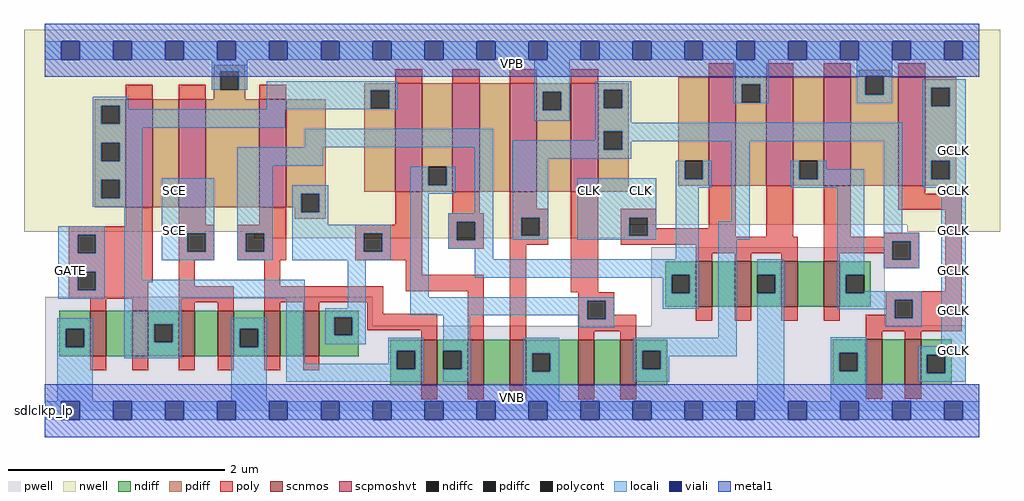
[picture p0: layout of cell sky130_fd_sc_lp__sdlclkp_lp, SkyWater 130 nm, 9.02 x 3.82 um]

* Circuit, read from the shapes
.subckt sky130_fd_sc_lp__sdlclkp_lp CLK GATE SCE VGND VNB VPB VPWR GCLK
XM1 n1 GATE VGND VNB sky130_fd_pr__nfet_01v8 w=0.42 l=0.15
XM2 n2 GATE n1 VNB sky130_fd_pr__nfet_01v8 w=0.42 l=0.15
XM3 n3 SCE n2 VNB sky130_fd_pr__nfet_01v8 w=0.42 l=0.15
XM4 VGND SCE n3 VNB sky130_fd_pr__nfet_01v8 w=0.42 l=0.15
XM5 n4 n5 VGND VNB sky130_fd_pr__nfet_01v8 w=0.42 l=0.15
XM6 n6 n5 n4 VNB sky130_fd_pr__nfet_01v8 w=0.42 l=0.15
XM7 n7 n5 n2 VNB sky130_fd_pr__nfet_01v8 w=0.42 l=0.15
XM8 n8 n6 n7 VNB sky130_fd_pr__nfet_01v8 w=0.42 l=0.15
XM9 VGND n9 n8 VNB sky130_fd_pr__nfet_01v8 w=0.42 l=0.15
XM10 n10 n7 VGND VNB sky130_fd_pr__nfet_01v8 w=0.42 l=0.15
XM11 n9 n7 n10 VNB sky130_fd_pr__nfet_01v8 w=0.42 l=0.15
XM12 n11 CLK n5 VNB sky130_fd_pr__nfet_01v8 w=0.42 l=0.15
XM13 VGND CLK n11 VNB sky130_fd_pr__nfet_01v8 w=0.42 l=0.15
XM14 n12 CLK VGND VNB sky130_fd_pr__nfet_01v8 w=0.42 l=0.15
XM15 n13 n9 n12 VNB sky130_fd_pr__nfet_01v8 w=0.42 l=0.15
XM16 n14 n13 VGND VNB sky130_fd_pr__nfet_01v8 w=0.42 l=0.15
XM17 GCLK n13 n14 VNB sky130_fd_pr__nfet_01v8 w=0.42 l=0.15
XM18 n15 GATE n2 VPB sky130_fd_pr__pfet_01v8_hvt w=1 l=0.25
XM19 VPWR SCE n15 VPB sky130_fd_pr__pfet_01v8_hvt w=1 l=0.25
XM20 n6 n5 VPWR VPB sky130_fd_pr__pfet_01v8_hvt w=1 l=0.25
XM21 n7 n6 n2 VPB sky130_fd_pr__pfet_01v8_hvt w=1 l=0.25
XM22 n16 n5 n7 VPB sky130_fd_pr__pfet_01v8_hvt w=1 l=0.25
XM23 VPWR n9 n16 VPB sky130_fd_pr__pfet_01v8_hvt w=1 l=0.25
XM24 n9 n7 VPWR VPB sky130_fd_pr__pfet_01v8_hvt w=1 l=0.25
XM25 VPWR CLK n5 VPB sky130_fd_pr__pfet_01v8_hvt w=1 l=0.25
XM26 n13 CLK VPWR VPB sky130_fd_pr__pfet_01v8_hvt w=1 l=0.25
XM27 VPWR n9 n13 VPB sky130_fd_pr__pfet_01v8_hvt w=1 l=0.25
XM28 GCLK n13 VPWR VPB sky130_fd_pr__pfet_01v8_hvt w=1 l=0.25
.ends

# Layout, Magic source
magic
tech sky130A
magscale 1 2
<< nwell >>
rect -38 344 1766 704
rect -38 331 1079 344
rect 1595 331 1766 344
rect 388 319 1079 331
<< pwell >>
rect 1 157 607 211
rect 1121 158 1553 302
rect 1121 157 1703 158
rect 1 49 1703 157
rect 0 0 1728 49
<< scnmos >>
rect 84 101 114 185
rect 162 101 192 185
rect 248 101 278 185
rect 320 101 350 185
rect 406 101 436 185
rect 478 101 508 185
rect 1204 192 1234 276
rect 1276 192 1306 276
rect 1362 192 1392 276
rect 1440 192 1470 276
rect 696 47 726 131
rect 782 47 812 131
rect 860 47 890 131
rect 986 47 1016 131
rect 1064 47 1094 131
rect 1518 48 1548 132
rect 1590 48 1620 132
<< scpmoshvt >>
rect 150 376 200 576
rect 248 376 298 576
rect 397 376 447 576
rect 648 405 698 605
rect 754 405 804 605
rect 860 405 910 605
rect 973 405 1023 605
rect 1228 416 1278 616
rect 1334 416 1384 616
rect 1440 416 1490 616
rect 1578 416 1628 616
<< ndiff >>
rect 27 151 84 185
rect 27 117 39 151
rect 73 117 84 151
rect 27 101 84 117
rect 114 101 162 185
rect 192 160 248 185
rect 192 126 203 160
rect 237 126 248 160
rect 192 101 248 126
rect 278 101 320 185
rect 350 151 406 185
rect 350 117 361 151
rect 395 117 406 151
rect 350 101 406 117
rect 436 101 478 185
rect 508 173 581 185
rect 508 139 535 173
rect 569 139 581 173
rect 508 101 581 139
rect 1147 251 1204 276
rect 1147 217 1159 251
rect 1193 217 1204 251
rect 1147 192 1204 217
rect 1234 192 1276 276
rect 1306 251 1362 276
rect 1306 217 1317 251
rect 1351 217 1362 251
rect 1306 192 1362 217
rect 1392 192 1440 276
rect 1470 251 1527 276
rect 1470 217 1481 251
rect 1515 217 1527 251
rect 1470 192 1527 217
rect 639 111 696 131
rect 639 77 651 111
rect 685 77 696 111
rect 639 47 696 77
rect 726 111 782 131
rect 726 77 737 111
rect 771 77 782 111
rect 726 47 782 77
rect 812 47 860 131
rect 890 106 986 131
rect 890 72 901 106
rect 935 72 986 106
rect 890 47 986 72
rect 1016 47 1064 131
rect 1094 111 1151 131
rect 1094 77 1105 111
rect 1139 77 1151 111
rect 1094 47 1151 77
rect 1457 107 1518 132
rect 1457 73 1469 107
rect 1503 73 1518 107
rect 1457 48 1518 73
rect 1548 48 1590 132
rect 1620 103 1677 132
rect 1620 69 1631 103
rect 1665 69 1677 103
rect 1620 48 1677 69
<< pdiff >>
rect 313 627 371 639
rect 313 593 325 627
rect 359 593 371 627
rect 1505 618 1563 630
rect 1505 616 1517 618
rect 313 576 371 593
rect 591 592 648 605
rect 93 564 150 576
rect 93 530 105 564
rect 139 530 150 564
rect 93 495 150 530
rect 93 461 105 495
rect 139 461 150 495
rect 93 427 150 461
rect 93 393 105 427
rect 139 393 150 427
rect 93 376 150 393
rect 200 376 248 576
rect 298 376 397 576
rect 447 401 520 576
rect 591 558 603 592
rect 637 558 648 592
rect 591 405 648 558
rect 698 451 754 605
rect 698 417 709 451
rect 743 417 754 451
rect 698 405 754 417
rect 804 405 860 605
rect 910 589 973 605
rect 910 555 921 589
rect 955 555 973 589
rect 910 405 973 555
rect 1023 593 1080 605
rect 1023 559 1034 593
rect 1068 559 1080 593
rect 1023 516 1080 559
rect 1023 482 1034 516
rect 1068 482 1080 516
rect 1023 405 1080 482
rect 1171 462 1228 616
rect 1171 428 1183 462
rect 1217 428 1228 462
rect 1171 416 1228 428
rect 1278 603 1334 616
rect 1278 569 1289 603
rect 1323 569 1334 603
rect 1278 416 1334 569
rect 1384 462 1440 616
rect 1384 428 1395 462
rect 1429 428 1440 462
rect 1384 416 1440 428
rect 1490 584 1517 616
rect 1551 616 1563 618
rect 1551 584 1578 616
rect 1490 416 1578 584
rect 1628 597 1685 616
rect 1628 563 1639 597
rect 1673 563 1685 597
rect 1628 462 1685 563
rect 1628 428 1639 462
rect 1673 428 1685 462
rect 1628 416 1685 428
rect 447 376 474 401
rect 462 367 474 376
rect 508 367 520 401
rect 462 355 520 367
<< ndiffc >>
rect 39 117 73 151
rect 203 126 237 160
rect 361 117 395 151
rect 535 139 569 173
rect 1159 217 1193 251
rect 1317 217 1351 251
rect 1481 217 1515 251
rect 651 77 685 111
rect 737 77 771 111
rect 901 72 935 106
rect 1105 77 1139 111
rect 1469 73 1503 107
rect 1631 69 1665 103
<< pdiffc >>
rect 325 593 359 627
rect 105 530 139 564
rect 105 461 139 495
rect 105 393 139 427
rect 603 558 637 592
rect 709 417 743 451
rect 921 555 955 589
rect 1034 559 1068 593
rect 1034 482 1068 516
rect 1183 428 1217 462
rect 1289 569 1323 603
rect 1395 428 1429 462
rect 1517 584 1551 618
rect 1639 563 1673 597
rect 1639 428 1673 462
rect 474 367 508 401
<< poly >>
rect 150 576 200 602
rect 248 576 298 602
rect 648 605 698 631
rect 754 605 804 631
rect 860 605 910 631
rect 973 605 1023 631
rect 1228 616 1278 642
rect 1334 616 1384 642
rect 1440 616 1490 642
rect 397 576 447 602
rect 1578 616 1628 642
rect 150 341 200 376
rect 45 325 200 341
rect 45 291 61 325
rect 95 291 200 325
rect 45 257 200 291
rect 45 223 61 257
rect 95 237 200 257
rect 248 344 298 376
rect 397 344 447 376
rect 648 344 698 405
rect 754 365 804 405
rect 860 373 910 405
rect 248 328 314 344
rect 248 294 264 328
rect 298 294 314 328
rect 248 278 314 294
rect 356 328 447 344
rect 356 294 372 328
rect 406 294 447 328
rect 356 278 447 294
rect 574 328 698 344
rect 574 294 590 328
rect 624 294 698 328
rect 746 349 812 365
rect 746 315 762 349
rect 796 315 812 349
rect 746 299 812 315
rect 860 357 931 373
rect 860 323 881 357
rect 915 323 931 357
rect 860 307 931 323
rect 574 278 698 294
rect 95 223 192 237
rect 45 207 192 223
rect 84 185 114 207
rect 162 185 192 207
rect 248 230 278 278
rect 406 230 436 278
rect 668 251 698 278
rect 248 200 350 230
rect 248 185 278 200
rect 320 185 350 200
rect 406 200 626 230
rect 668 221 812 251
rect 406 185 436 200
rect 478 185 508 200
rect 596 179 626 200
rect 596 149 726 179
rect 696 131 726 149
rect 782 131 812 221
rect 860 131 890 307
rect 973 219 1023 405
rect 1065 357 1131 373
rect 1065 323 1081 357
rect 1115 337 1131 357
rect 1228 337 1278 416
rect 1115 323 1278 337
rect 1065 321 1278 323
rect 1334 321 1384 416
rect 1440 321 1490 416
rect 1578 401 1628 416
rect 1578 371 1695 401
rect 1551 321 1617 329
rect 1065 307 1392 321
rect 1204 291 1392 307
rect 1204 276 1234 291
rect 1276 276 1306 291
rect 1362 276 1392 291
rect 1440 313 1617 321
rect 1440 291 1567 313
rect 1440 276 1470 291
rect 1551 279 1567 291
rect 1601 279 1617 313
rect 986 203 1053 219
rect 986 169 1003 203
rect 1037 177 1053 203
rect 1551 263 1617 279
rect 1665 221 1695 371
rect 1555 205 1695 221
rect 1037 169 1094 177
rect 986 147 1094 169
rect 1204 166 1234 192
rect 1276 166 1306 192
rect 1362 166 1392 192
rect 1440 166 1470 192
rect 1555 177 1571 205
rect 1518 171 1571 177
rect 1605 171 1695 205
rect 986 131 1016 147
rect 1064 131 1094 147
rect 1518 147 1695 171
rect 1518 132 1548 147
rect 1590 132 1620 147
rect 84 75 114 101
rect 162 75 192 101
rect 248 75 278 101
rect 320 75 350 101
rect 406 75 436 101
rect 478 75 508 101
rect 696 21 726 47
rect 782 21 812 47
rect 860 21 890 47
rect 986 21 1016 47
rect 1064 21 1094 47
rect 1518 22 1548 48
rect 1590 22 1620 48
<< polycont >>
rect 61 291 95 325
rect 61 223 95 257
rect 264 294 298 328
rect 372 294 406 328
rect 590 294 624 328
rect 762 315 796 349
rect 881 323 915 357
rect 1081 323 1115 357
rect 1567 279 1601 313
rect 1003 169 1037 203
rect 1571 171 1605 205
<< locali >>
rect 0 649 31 683
rect 65 649 127 683
rect 161 649 223 683
rect 257 649 319 683
rect 353 649 415 683
rect 449 649 511 683
rect 545 649 607 683
rect 641 649 703 683
rect 737 649 799 683
rect 833 649 895 683
rect 929 649 991 683
rect 1025 649 1087 683
rect 1121 649 1183 683
rect 1217 649 1279 683
rect 1313 649 1375 683
rect 1409 649 1471 683
rect 1505 649 1567 683
rect 1601 649 1663 683
rect 1697 649 1728 683
rect 309 627 375 649
rect 309 593 325 627
rect 359 593 375 627
rect 411 592 653 609
rect 89 564 155 580
rect 89 530 105 564
rect 139 557 155 564
rect 411 558 603 592
rect 637 558 653 592
rect 411 557 653 558
rect 905 589 971 649
rect 139 530 445 557
rect 905 555 921 589
rect 955 555 971 589
rect 905 536 971 555
rect 1018 593 1084 609
rect 1018 559 1034 593
rect 1068 559 1084 593
rect 1273 603 1339 649
rect 1273 569 1289 603
rect 1323 569 1339 603
rect 1273 568 1339 569
rect 1501 618 1567 649
rect 1501 584 1517 618
rect 1551 584 1567 618
rect 1501 568 1567 584
rect 1623 597 1703 613
rect 89 523 445 530
rect 1018 532 1084 559
rect 1623 563 1639 597
rect 1673 563 1703 597
rect 89 495 181 523
rect 89 461 105 495
rect 139 461 181 495
rect 481 487 829 521
rect 1018 516 1585 532
rect 1018 500 1034 516
rect 89 427 181 461
rect 356 453 515 487
rect 89 393 105 427
rect 139 393 181 427
rect 89 377 181 393
rect 25 325 111 341
rect 25 291 61 325
rect 95 291 111 325
rect 25 257 111 291
rect 25 223 61 257
rect 95 223 111 257
rect 25 207 111 223
rect 147 242 181 377
rect 217 328 314 430
rect 217 294 264 328
rect 298 294 314 328
rect 217 278 314 294
rect 356 328 422 453
rect 676 417 709 451
rect 743 417 759 451
rect 356 294 372 328
rect 406 294 422 328
rect 356 278 422 294
rect 458 401 524 417
rect 458 367 474 401
rect 508 367 524 401
rect 458 344 524 367
rect 676 401 759 417
rect 458 328 640 344
rect 458 294 590 328
rect 624 294 640 328
rect 458 278 640 294
rect 147 208 481 242
rect 23 151 89 171
rect 23 117 39 151
rect 73 117 89 151
rect 23 17 89 117
rect 147 160 253 208
rect 147 126 203 160
rect 237 126 253 160
rect 147 97 253 126
rect 345 151 411 172
rect 345 117 361 151
rect 395 117 411 151
rect 345 17 411 117
rect 447 87 481 208
rect 560 189 594 278
rect 519 173 594 189
rect 676 210 710 401
rect 795 365 829 487
rect 746 349 829 365
rect 746 315 762 349
rect 796 315 829 349
rect 865 482 1034 500
rect 1068 498 1585 516
rect 1068 482 1084 498
rect 865 466 1084 482
rect 865 357 931 466
rect 865 323 881 357
rect 915 323 931 357
rect 865 316 931 323
rect 985 357 1131 430
rect 985 323 1081 357
rect 1115 323 1131 357
rect 985 316 1131 323
rect 1167 428 1183 462
rect 1217 428 1233 462
rect 1167 412 1233 428
rect 746 299 829 315
rect 795 280 829 299
rect 1167 280 1209 412
rect 1269 350 1303 498
rect 1379 428 1395 462
rect 1429 446 1445 462
rect 1429 428 1515 446
rect 1379 412 1515 428
rect 795 251 1209 280
rect 795 246 1159 251
rect 1143 217 1159 246
rect 1193 217 1209 251
rect 676 203 1053 210
rect 676 176 1003 203
rect 519 139 535 173
rect 569 139 594 173
rect 519 123 594 139
rect 635 111 701 135
rect 635 87 651 111
rect 447 77 651 87
rect 685 77 701 111
rect 447 53 701 77
rect 737 111 787 176
rect 987 169 1003 176
rect 1037 169 1053 203
rect 1143 188 1209 217
rect 1245 316 1303 350
rect 987 153 1053 169
rect 1245 135 1279 316
rect 771 77 787 111
rect 737 53 787 77
rect 885 106 951 135
rect 885 72 901 106
rect 935 72 951 106
rect 885 17 951 72
rect 1089 111 1279 135
rect 1089 77 1105 111
rect 1139 101 1279 111
rect 1317 251 1367 280
rect 1351 217 1367 251
rect 1139 77 1155 101
rect 1089 53 1155 77
rect 1317 17 1367 217
rect 1465 251 1515 412
rect 1551 329 1585 498
rect 1623 462 1703 563
rect 1623 428 1639 462
rect 1673 428 1703 462
rect 1623 412 1703 428
rect 1551 313 1617 329
rect 1551 279 1567 313
rect 1601 279 1617 313
rect 1551 263 1617 279
rect 1465 217 1481 251
rect 1515 217 1621 221
rect 1465 205 1621 217
rect 1465 187 1571 205
rect 1555 171 1571 187
rect 1605 171 1621 205
rect 1555 155 1621 171
rect 1453 107 1519 136
rect 1657 119 1703 412
rect 1453 73 1469 107
rect 1503 73 1519 107
rect 1453 17 1519 73
rect 1615 103 1703 119
rect 1615 69 1631 103
rect 1665 69 1703 103
rect 1615 53 1703 69
rect 0 -17 31 17
rect 65 -17 127 17
rect 161 -17 223 17
rect 257 -17 319 17
rect 353 -17 415 17
rect 449 -17 511 17
rect 545 -17 607 17
rect 641 -17 703 17
rect 737 -17 799 17
rect 833 -17 895 17
rect 929 -17 991 17
rect 1025 -17 1087 17
rect 1121 -17 1183 17
rect 1217 -17 1279 17
rect 1313 -17 1375 17
rect 1409 -17 1471 17
rect 1505 -17 1567 17
rect 1601 -17 1663 17
rect 1697 -17 1728 17
<< viali >>
rect 31 649 65 683
rect 127 649 161 683
rect 223 649 257 683
rect 319 649 353 683
rect 415 649 449 683
rect 511 649 545 683
rect 607 649 641 683
rect 703 649 737 683
rect 799 649 833 683
rect 895 649 929 683
rect 991 649 1025 683
rect 1087 649 1121 683
rect 1183 649 1217 683
rect 1279 649 1313 683
rect 1375 649 1409 683
rect 1471 649 1505 683
rect 1567 649 1601 683
rect 1663 649 1697 683
rect 31 -17 65 17
rect 127 -17 161 17
rect 223 -17 257 17
rect 319 -17 353 17
rect 415 -17 449 17
rect 511 -17 545 17
rect 607 -17 641 17
rect 703 -17 737 17
rect 799 -17 833 17
rect 895 -17 929 17
rect 991 -17 1025 17
rect 1087 -17 1121 17
rect 1183 -17 1217 17
rect 1279 -17 1313 17
rect 1375 -17 1409 17
rect 1471 -17 1505 17
rect 1567 -17 1601 17
rect 1663 -17 1697 17
<< metal1 >>
rect 0 683 1728 715
rect 0 649 31 683
rect 65 649 127 683
rect 161 649 223 683
rect 257 649 319 683
rect 353 649 415 683
rect 449 649 511 683
rect 545 649 607 683
rect 641 649 703 683
rect 737 649 799 683
rect 833 649 895 683
rect 929 649 991 683
rect 1025 649 1087 683
rect 1121 649 1183 683
rect 1217 649 1279 683
rect 1313 649 1375 683
rect 1409 649 1471 683
rect 1505 649 1567 683
rect 1601 649 1663 683
rect 1697 649 1728 683
rect 0 617 1728 649
rect 0 17 1728 49
rect 0 -17 31 17
rect 65 -17 127 17
rect 161 -17 223 17
rect 257 -17 319 17
rect 353 -17 415 17
rect 449 -17 511 17
rect 545 -17 607 17
rect 641 -17 703 17
rect 737 -17 799 17
rect 833 -17 895 17
rect 929 -17 991 17
rect 1025 -17 1087 17
rect 1121 -17 1183 17
rect 1217 -17 1279 17
rect 1313 -17 1375 17
rect 1409 -17 1471 17
rect 1505 -17 1567 17
rect 1601 -17 1663 17
rect 1697 -17 1728 17
rect 0 -49 1728 -17
<< labels >>
flabel pwell s 0 0 1728 49 0 FreeSans 200 0 0 0 VNB
port 5 nsew ground bidirectional
flabel nwell s 0 617 1728 666 0 FreeSans 200 0 0 0 VPB
port 6 nsew power bidirectional
rlabel comment s 0 0 0 0 4 sdlclkp_lp
flabel metal1 s 0 617 1728 666 0 FreeSans 340 0 0 0 VPWR
port 7 nsew power bidirectional
flabel metal1 s 0 0 1728 49 0 FreeSans 340 0 0 0 VGND
port 4 nsew ground bidirectional
flabel locali s 991 390 1025 424 0 FreeSans 340 0 0 0 CLK
port 1 nsew clock input
flabel locali s 1087 390 1121 424 0 FreeSans 340 0 0 0 CLK
port 1 nsew clock input
flabel locali s 223 316 257 350 0 FreeSans 340 0 0 0 SCE
port 3 nsew signal input
flabel locali s 223 390 257 424 0 FreeSans 340 0 0 0 SCE
port 3 nsew signal input
flabel locali s 1663 94 1697 128 0 FreeSans 340 0 0 0 GCLK
port 8 nsew signal output
flabel locali s 1663 168 1697 202 0 FreeSans 340 0 0 0 GCLK
port 8 nsew signal output
flabel locali s 1663 242 1697 276 0 FreeSans 340 0 0 0 GCLK
port 8 nsew signal output
flabel locali s 1663 316 1697 350 0 FreeSans 340 0 0 0 GCLK
port 8 nsew signal output
flabel locali s 1663 390 1697 424 0 FreeSans 340 0 0 0 GCLK
port 8 nsew signal output
flabel locali s 1663 464 1697 498 0 FreeSans 340 0 0 0 GCLK
port 8 nsew signal output
flabel locali s 31 242 65 276 0 FreeSans 340 0 0 0 GATE
port 2 nsew signal input
<< properties >>
string LEFsite unit
string LEFclass CORE
string FIXED_BBOX 0 0 1728 666
string GDS_FILE $PDKPATH/libs.ref/sky130_fd_sc_lp/gds/sky130_fd_sc_lp.gds
string LEFsymmetry X Y R90
string GDS_END 1450618
string GDS_START 1438602
<< end >>
